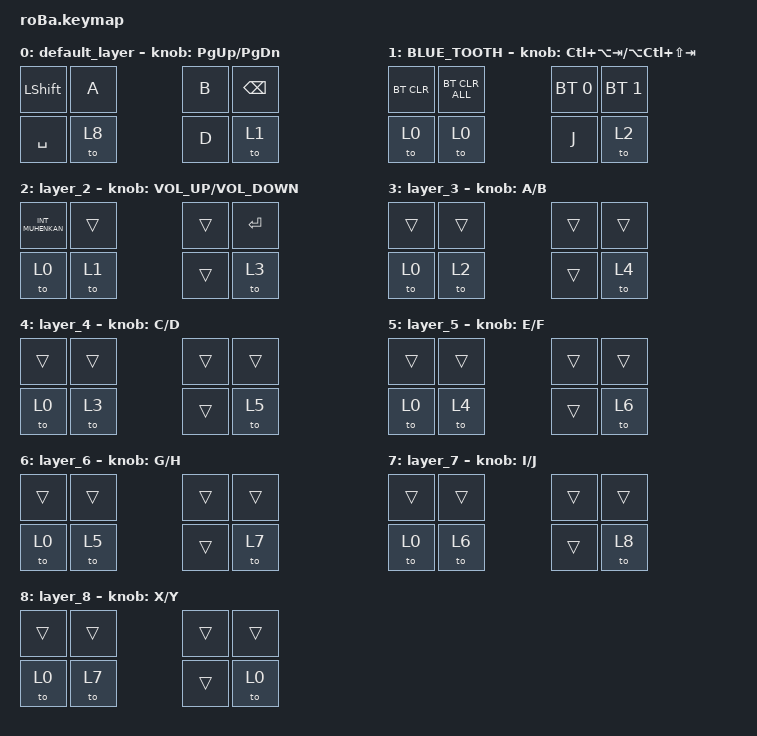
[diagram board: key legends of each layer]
#include <behaviors.dtsi>
#include <dt-bindings/zmk/bt.h>
#include <dt-bindings/zmk/keys.h>

&mt {
    flavor = "balanced";
    quick-tap-ms = <0>;
};

/*
&trackball {
    automouse-layer = <4>;
    scroll-layers = <5>;

    // arrows {
    //     layers = <3>;
    //     bindings =
    //         <&kp RIGHT_ARROW>,
    //         <&kp LEFT_ARROW>,
    //         <&kp UP_ARROW>,
    //         <&kp DOWN_ARROW>;

    //     tick = <10>;
    //     wait-ms = <5>;
    //     tap-ms = <5>;
    // };
};
*/

/ {
    /*
    combos {
        compatible = "zmk,combos";

        tab {
            bindings = <&kp TAB>;
            key-positions = <11 12>;
        };

        shift_tab {
            bindings = <&kp LS(TAB)>;
            key-positions = <12 13>;
        };

        muhennkann {
            bindings = <&to_layer_0 INT_MUHENKAN>;
            key-positions = <11 10>;
        };

        double_quotation {
            bindings = <&kp DOUBLE_QUOTES>;
            key-positions = <20 21>;
        };

        eq {
            bindings = <&kp EQUAL>;
            key-positions = <24 25>;
        };
    };

    macros {
        to_layer_0: to_layer_0 {
            compatible = "zmk,behavior-macro-one-param";
            #binding-cells = <1>;
            bindings = <&to 0 &macro_param_1to1 &kp MACRO_PLACEHOLDER>;
            label = "TO_LAYER_0";
        };
    };

    behaviors {
        lt_to_layer_0: lt_to_layer_0 {
            compatible = "zmk,behavior-hold-tap";
            label = "LAYER_TAP_TO_0";
            bindings = <&mo>, <&to_layer_0>;

            #binding-cells = <2>;
            tapping-term-ms = <200>;
        };
    };
    */

    combos {
        compatible = "zmk,combos";

        dkfsljkd {
            bindings = <&kp U>;
            key-positions = <2 1>;
        };
    };

    keymap {
        compatible = "zmk,keymap";

        default_layer {
            bindings = <
&kp LEFT_SHIFT  &kp A      &kp B  &kp BACKSPACE
&kp SPACE       &to 8      &kp D  &to 1
            >;

            sensor-bindings = <&inc_dec_kp PG_UP PAGE_DOWN>;
        };

        BLUE_TOOTH {
            bindings = <
&bt BT_CLR  &bt BT_CLR_ALL      &bt BT_SEL 0  &bt BT_SEL 1
&to 0       &to 0               &kp J         &to 2
            >;

            sensor-bindings = <&inc_dec_kp LC(LA(TAB)) LA(LC(LS(TAB)))>;
        };

        layer_2 {
            bindings = <
&kp INT_MUHENKAN  &trans      &trans  &kp ENTER
&to 0             &to 1       &trans  &to 3
            >;

            sensor-bindings = <&inc_dec_kp C_VOLUME_UP C_VOLUME_DOWN>;
        };

        layer_3 {
            bindings = <
&trans  &trans      &trans  &trans
&to 0   &to 2       &trans  &to 4
            >;

            sensor-bindings = <&inc_dec_kp A B>;
        };

        layer_4 {
            bindings = <
&trans  &trans      &trans  &trans
&to 0   &to 3       &trans  &to 5
            >;

            sensor-bindings = <&inc_dec_kp C D>;
        };

        layer_5 {
            bindings = <
&trans  &trans      &trans  &trans
&to 0   &to 4       &trans  &to 6
            >;

            sensor-bindings = <&inc_dec_kp E F>;
        };

        layer_6 {
            bindings = <
&trans  &trans      &trans  &trans
&to 0   &to 5       &trans  &to 7
            >;

            sensor-bindings = <&inc_dec_kp G H>;
        };

        layer_7 {
            bindings = <
&trans  &trans      &trans  &trans
&to 0   &to 6       &trans  &to 8
            >;

            sensor-bindings = <&inc_dec_kp I J>;
        };

        layer_8 {
            bindings = <
&trans  &trans      &trans  &trans
&to 0   &to 7       &trans  &to 0
            >;

            sensor-bindings = <&inc_dec_kp X Y>;
        };

        /*

        NUM {
            bindings = < ... >;
        };

        ARROW {
            bindings = < ... >;
        };

        MOUSE {
            bindings = < ... >;
        };

        SCROLL {
            bindings = < ... >;
        };

        layer_6 {
            bindings = < ... >;
        };
        */
    };
};
